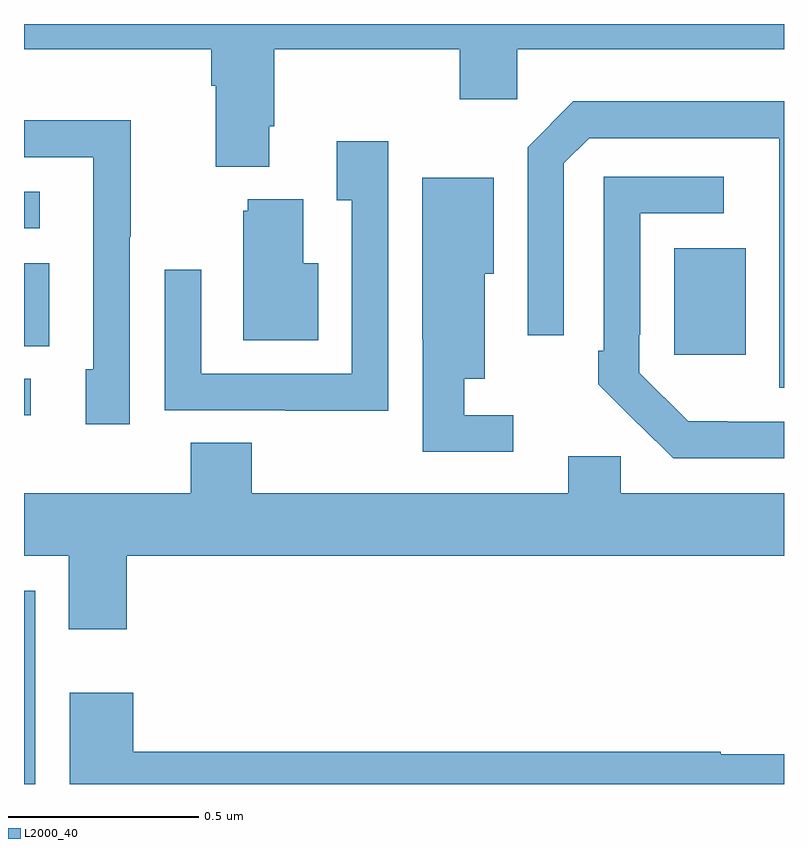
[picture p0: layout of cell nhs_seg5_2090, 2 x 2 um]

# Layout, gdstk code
import gdstk
lib = gdstk.Library(unit=1e-6, precision=1e-09)
def R(c, l, rs):  # rectangles x0, y0, x1, y1
    for r in rs: c.add(gdstk.rectangle(r[:2], r[2:], *l))
def P(c, l, *ps):  # polygons
    for p in ps: c.add(gdstk.Polygon(p, *l))
L2000_40 = (2000, 40)

nhs_seg5_2090 = lib.new_cell('nhs_seg5_2090')
R(nhs_seg5_2090, L2000_40, [(139,882.799,139.029,883.308), (139,883.769,139.018,883.866), (140.711,883.929,140.899,884.209), (139,883.951,139.066,884.17), (139,884.262,139.042,884.358)])
P(nhs_seg5_2090, L2000_40, [(139.645,884.53),(139.658,884.53),(139.658,884.732),(140.147,884.732),(140.147,884.601),(140.298,884.601),(140.298,884.732),(141,884.732),(141,884.799),(139,884.799),(139,884.732),(139.493,884.732),(139.493,884.636),(139.505,884.636),(139.505,884.423),(139.645,884.423)],
  [(141,884.596),(140.446,884.596),(140.325,884.475),(140.325,883.98),(140.421,883.98),(140.421,884.433),(140.487,884.499),(140.988,884.499),(140.988,883.842),(141,883.842)],
  [(139.278,884.239),(139.281,884.239),(139.281,884.546),(139,884.546),(139,884.448),(139.182,884.448),(139.182,883.89),(139.163,883.89),(139.163,883.746),(139.278,883.746)],
  [(139.959,884.491),(139.823,884.491),(139.823,884.335),(139.863,884.335),(139.863,883.878),(139.467,883.878),(139.467,884.152),(139.371,884.152),(139.371,883.782),(139.687,883.782),(139.687,883.781),(139.959,883.781)],
  [(141,883.752),(140.851,883.752),(140.851,883.753),(140.748,883.753),(140.619,883.881),(140.619,883.981),(140.622,883.981),(140.622,884.301),(140.842,884.301),(140.842,884.397),(140.526,884.397),(140.526,883.939),(140.511,883.939),(140.511,883.851),(140.616,883.746),(140.617,883.747),(140.708,883.656),(141,883.656)],
  [(140.287,883.77),(140.158,883.77),(140.158,883.865),(140.212,883.865),(140.212,884.142),(140.236,884.142),(140.236,884.395),(140.048,884.395),(140.048,883.969),(140.049,883.969),(140.049,883.674),(140.287,883.674)],
  [(139.774,884.17),(139.735,884.17),(139.735,884.338),(139.589,884.338),(139.589,884.307),(139.577,884.307),(139.577,883.967),(139.774,883.967)],
  [(139.271,883.4),(141,883.4),(141,883.564),(140.571,883.564),(140.571,883.662),(140.432,883.662),(140.432,883.564),(139.599,883.564),(139.599,883.697),(139.439,883.697),(139.439,883.564),(139,883.564),(139,883.4),(139.118,883.4),(139.118,883.206),(139.271,883.206)],
  [(141,882.877),(140.833,882.877),(140.833,882.884),(139.288,882.884),(139.288,883.039),(139.121,883.039),(139.121,882.799),(141,882.799)])

lib.write_gds('nhs_seg5_2090.gds')
